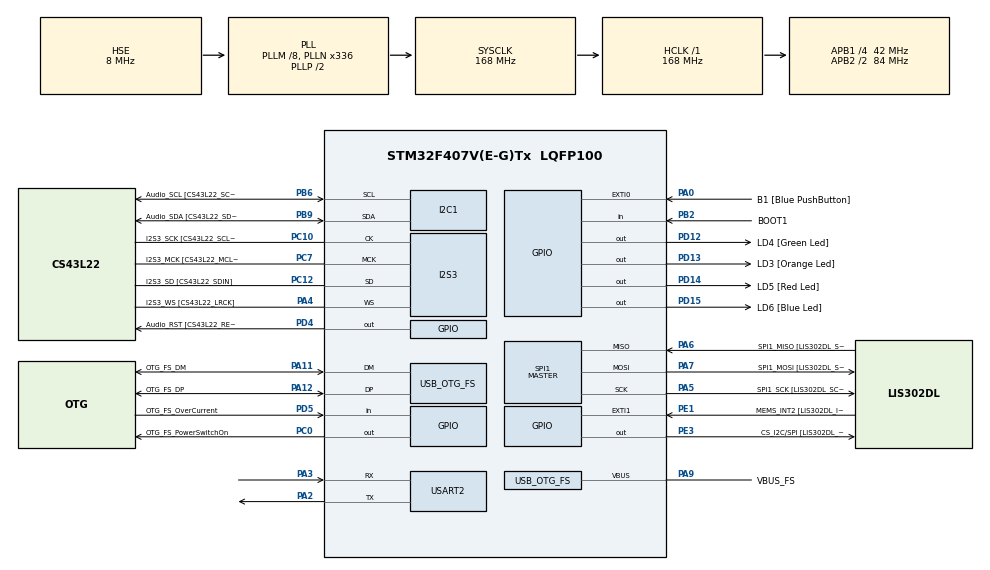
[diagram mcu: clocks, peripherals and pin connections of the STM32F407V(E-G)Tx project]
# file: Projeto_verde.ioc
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Dma.Request0=USART2_TX
Dma.USART2_TX.0.Direction=DMA_MEMORY_TO_PERIPH
Dma.USART2_TX.0.FIFOMode=DMA_FIFOMODE_DISABLE
Dma.USART2_TX.0.Instance=DMA1_Stream6
Dma.USART2_TX.0.MemDataAlignment=DMA_MDATAALIGN_BYTE
Dma.USART2_TX.0.MemInc=DMA_MINC_ENABLE
Dma.USART2_TX.0.Mode=DMA_NORMAL
Dma.USART2_TX.0.PeriphDataAlignment=DMA_PDATAALIGN_BYTE
Dma.USART2_TX.0.PeriphInc=DMA_PINC_DISABLE
Dma.USART2_TX.0.Priority=DMA_PRIORITY_LOW
I2S3.AudioFreq-Half_Duplex_Master=I2S_AUDIOFREQ_96K
I2S3.ErrorAudioFreq=-2.34 %
I2S3.ErrorAudioFreq-Half_Duplex_Master=0.8 %
I2S3.FullDuplexMode=I2S_FULLDUPLEXMODE_DISABLE
I2S3.Instance=SPI$Index
I2S3.RealAudioFreq=93.75 KHz
I2S3.RealAudioFreq-Half_Duplex_Master=96.774 KHz
I2S3.VirtualMode=I2S_MODE_MASTER
Mcu.Family=STM32F4
Mcu.Name=STM32F407V(E-G)Tx
Mcu.Package=LQFP100
NVIC.DMA1_Stream6_IRQn=true\:0\:0\:false\:false\:true\:false\:true\:true
NVIC.OTG_FS_IRQn=true\:0\:0\:false\:false\:true\:true\:true\:true
NVIC.PriorityGroup=NVIC_PRIORITYGROUP_0
NVIC.USART2_IRQn=true\:0\:0\:false\:false\:true\:true\:true\:true
PA0-WKUP.GPIO_Label=B1 [Blue PushButton]
PA0-WKUP.GPIO_ModeDefaultEXTI=GPIO_MODE_EVT_RISING
PA0-WKUP.GPIO_PuPd=GPIO_NOPULL
PA0-WKUP.Signal=GPXTI0
PA10.GPIO_Label=OTG_FS_ID
PA10.GPIO_Mode=GPIO_MODE_AF_PP
PA10.GPIO_PuPd=GPIO_NOPULL
PA10.GPIO_Speed=GPIO_SPEED_FREQ_LOW
PA10.Signal=USB_OTG_FS_ID
PA11.GPIO_Label=OTG_FS_DM
PA11.GPIO_Mode=GPIO_MODE_AF_PP
PA11.GPIO_PuPd=GPIO_NOPULL
PA11.GPIO_Speed=GPIO_SPEED_FREQ_LOW
PA11.Mode=Host_Only
PA11.Signal=USB_OTG_FS_DM
PA12.GPIO_Label=OTG_FS_DP
PA12.GPIO_Mode=GPIO_MODE_AF_PP
PA12.GPIO_PuPd=GPIO_NOPULL
PA12.GPIO_Speed=GPIO_SPEED_FREQ_LOW
PA12.Mode=Host_Only
PA12.Signal=USB_OTG_FS_DP
PA13.GPIO_Label=SWDIO
PA13.Mode=Serial_Wire
PA13.Signal=SYS_JTMS-SWDIO
PA14.GPIO_Label=SWCLK
PA14.Mode=Serial_Wire
PA14.Signal=SYS_JTCK-SWCLK
PA2.GPIO_PuPd=GPIO_PULLUP
PA2.Mode=Asynchronous
PA2.Signal=USART2_TX
PA3.GPIO_PuPd=GPIO_PULLUP
PA3.Mode=Asynchronous
PA3.Signal=USART2_RX
PA4.GPIO_Label=I2S3_WS [CS43L22_LRCK]
PA4.GPIO_Mode=GPIO_MODE_AF_PP
PA4.GPIO_PuPd=GPIO_NOPULL
PA4.GPIO_Speed=GPIO_SPEED_FREQ_LOW
PA4.Mode=Half_Duplex_Master
PA4.Signal=I2S3_WS
PA5.GPIO_Label=SPI1_SCK [LIS302DL_SCL/SPC]
PA5.GPIO_Mode=GPIO_MODE_AF_PP
PA5.GPIO_PuPd=GPIO_NOPULL
PA5.GPIO_Speed=GPIO_SPEED_FREQ_LOW
PA5.Mode=Full_Duplex_Master
PA5.Signal=SPI1_SCK
PA6.GPIO_Label=SPI1_MISO [LIS302DL_SDO]
PA6.GPIO_Mode=GPIO_MODE_AF_PP
PA6.GPIO_PuPd=GPIO_NOPULL
PA6.GPIO_Speed=GPIO_SPEED_FREQ_LOW
PA6.Mode=Full_Duplex_Master
PA6.Signal=SPI1_MISO
PA7.GPIO_Label=SPI1_MOSI [LIS302DL_SDA/SDI/SDO]
PA7.GPIO_Mode=GPIO_MODE_AF_PP
PA7.GPIO_PuPd=GPIO_NOPULL
PA7.GPIO_Speed=GPIO_SPEED_FREQ_LOW
PA7.Mode=Full_Duplex_Master
PA7.Signal=SPI1_MOSI
PA9.GPIO_Label=VBUS_FS
PA9.GPIO_Mode=GPIO_MODE_INPUT
PA9.GPIO_PuPd=GPIO_NOPULL
PA9.Mode=Activate_VBUS
PA9.Signal=USB_OTG_FS_VBUS
PB10.GPIO_Label=CLK_IN [MP45DT02_CLK]
PB10.GPIO_Mode=GPIO_MODE_AF_PP
PB10.GPIO_PuPd=GPIO_NOPULL
PB10.GPIO_Speed=GPIO_SPEED_FREQ_LOW
PB10.Signal=I2S2_CK
PB2.GPIO_Label=BOOT1
PB2.GPIO_Mode=GPIO_MODE_INPUT
PB2.GPIO_PuPd=GPIO_NOPULL
PB2.Signal=GPIO_Input
PB3.GPIO_Label=SWO
PB3.Signal=SYS_JTDO-SWO
PB6.GPIO_Label=Audio_SCL [CS43L22_SCL]
PB6.GPIO_Mode=GPIO_MODE_AF_OD
PB6.GPIO_Pu=GPIO_PULLUP
PB6.GPIO_PuPd=GPIO_NOPULL
PB6.GPIO_Speed=GPIO_SPEED_FREQ_LOW
PB6.Mode=I2C
PB6.Signal=I2C1_SCL
PB9.GPIO_Label=Audio_SDA [CS43L22_SDA]
PB9.GPIO_Mode=GPIO_MODE_AF_OD
PB9.GPIO_Pu=GPIO_PULLUP
PB9.GPIO_PuPd=GPIO_NOPULL
PB9.GPIO_Speed=GPIO_SPEED_FREQ_LOW
PB9.Mode=I2C
PB9.Signal=I2C1_SDA
PC0.GPIO_Label=OTG_FS_PowerSwitchOn
PC0.GPIO_PuPd=GPIO_NOPULL
PC0.GPIO_Speed=GPIO_SPEED_FREQ_LOW
PC0.PinState=GPIO_PIN_SET
PC0.Signal=GPIO_Output
PC10.GPIO_Label=I2S3_SCK [CS43L22_SCLK]
PC10.GPIO_Mode=GPIO_MODE_AF_PP
PC10.GPIO_PuPd=GPIO_NOPULL
PC10.GPIO_Speed=GPIO_SPEED_FREQ_LOW
PC10.Mode=Half_Duplex_Master
PC10.Signal=I2S3_CK
PC12.GPIO_Label=I2S3_SD [CS43L22_SDIN]
PC12.GPIO_Mode=GPIO_MODE_AF_PP
PC12.GPIO_PuPd=GPIO_NOPULL
PC12.GPIO_Speed=GPIO_SPEED_FREQ_LOW
PC12.Mode=Half_Duplex_Master
PC12.Signal=I2S3_SD
PC14-OSC32_IN.GPIO_Label=PC14-OSC32_IN
PC14-OSC32_IN.Mode=LSE-External-Oscillator
PC14-OSC32_IN.Signal=RCC_OSC32_IN
PC15-OSC32_OUT.GPIO_Label=PC15-OSC32_OUT
PC15-OSC32_OUT.Mode=LSE-External-Oscillator
PC15-OSC32_OUT.Signal=RCC_OSC32_OUT
PC3.GPIO_Label=PDM_OUT [MP45DT02_DOUT]
PC3.GPIO_Mode=GPIO_MODE_AF_PP
PC3.GPIO_PuPd=GPIO_NOPULL
PC3.GPIO_Speed=GPIO_SPEED_FREQ_LOW
PC3.Signal=I2S2_SD
PC7.GPIO_Label=I2S3_MCK [CS43L22_MCLK]
PC7.GPIO_Mode=GPIO_MODE_AF_PP
PC7.GPIO_PuPd=GPIO_NOPULL
PC7.GPIO_Speed=GPIO_SPEED_FREQ_LOW
PC7.Mode=Master_Clock_Activated
PC7.Signal=I2S3_MCK
PD12.GPIO_Label=LD4 [Green Led]
PD12.GPIO_PuPd=GPIO_NOPULL
PD12.GPIO_Speed=GPIO_SPEED_FREQ_LOW
PD12.Signal=GPIO_Output
PD13.GPIO_Label=LD3 [Orange Led]
PD13.GPIO_PuPd=GPIO_NOPULL
PD13.GPIO_Speed=GPIO_SPEED_FREQ_LOW
PD13.Signal=GPIO_Output
PD14.GPIO_Label=LD5 [Red Led]
PD14.GPIO_PuPd=GPIO_NOPULL
PD14.GPIO_Speed=GPIO_SPEED_FREQ_LOW
PD14.Signal=GPIO_Output
PD15.GPIO_Label=LD6 [Blue Led]
PD15.GPIO_PuPd=GPIO_NOPULL
PD15.GPIO_Speed=GPIO_SPEED_FREQ_LOW
PD15.Signal=GPIO_Output
PD4.GPIO_Label=Audio_RST [CS43L22_RESET]
PD4.GPIO_PuPd=GPIO_NOPULL
PD4.GPIO_Speed=GPIO_SPEED_FREQ_LOW
PD4.Signal=GPIO_Output
PD5.GPIO_Label=OTG_FS_OverCurrent
PD5.GPIO_Mode=GPIO_MODE_INPUT
PD5.GPIO_PuPd=GPIO_NOPULL
PD5.Signal=GPIO_Input
PE1.GPIO_Label=MEMS_INT2 [LIS302DL_INT2]
PE1.GPIO_ModeDefaultEXTI=GPIO_MODE_EVT_RISING
PE1.GPIO_PuPd=GPIO_NOPULL
PE1.Signal=GPXTI1
PE3.GPIO_Label=CS_I2C/SPI [LIS302DL_CS_I2C/SPI]
PE3.GPIO_PuPd=GPIO_NOPULL
PE3.GPIO_Speed=GPIO_SPEED_FREQ_LOW
PE3.Signal=GPIO_Output
PH0-OSC_IN.GPIO_Label=PH0-OSC_IN
PH0-OSC_IN.Mode=HSE-External-Oscillator
PH0-OSC_IN.Signal=RCC_OSC_IN
PH1-OSC_OUT.GPIO_Label=PH1-OSC_OUT
PH1-OSC_OUT.Mode=HSE-External-Oscillator
PH1-OSC_OUT.Signal=RCC_OSC_OUT
ProjectManager.HeapSize=0x200
ProjectManager.StackSize=0x400
ProjectManager.TargetToolchain=STM32CubeIDE
RCC.48MHZClocksFreq_Value=48000000
RCC.AHBFreq_Value=168000000
RCC.APB1CLKDivider=RCC_HCLK_DIV4
RCC.APB1Freq_Value=42000000
RCC.APB1TimFreq_Value=84000000
RCC.APB2CLKDivider=RCC_HCLK_DIV2
RCC.APB2Freq_Value=84000000
RCC.APB2TimFreq_Value=168000000
RCC.CortexFreq_Value=168000000
RCC.HCLKFreq_Value=168000000
RCC.HSE_VALUE=8000000
RCC.HSI_VALUE=16000000
RCC.PLLM=8
RCC.PLLN=336
RCC.PLLQ=7
RCC.SYSCLKFreq_VALUE=168000000
RCC.SYSCLKSource=RCC_SYSCLKSOURCE_PLLCLK
RCC.VCOOutputFreq_Value=336000000
SPI1.BaudRatePrescaler-Full_Duplex_Master=SPI_BAUDRATEPRESCALER_2
SPI1.CalculateBaudRate-Full_Duplex_Master=42.0 MBits/s
SPI1.Direction=SPI_DIRECTION_2LINES
SPI1.Mode=SPI_MODE_MASTER
SPI1.Mode-Full_Duplex_Master=SPI_MODE_MASTER
SPI1.VirtualType=VM_MASTER
USART2.VirtualMode=VM_ASYNC
USB_HOST.BSP.number=1
USB_HOST.USBH_HandleTypeDef-CDC_FS=hUsbHostFS
USB_HOST.VirtualModeFS=Cdc
USB_HOST0.BSP.STBoard=false
USB_HOST0.BSP.api=Unknown
USB_HOST0.BSP.instance=PC0
USB_HOST0.BSP.ip=GPIO
USB_HOST0.BSP.mode=Output
USB_HOST0.BSP.name=Drive_VBUS_FS
USB_HOST0.BSP.solution=PC0
USB_OTG_FS.VirtualMode=Host_Only
USB_OTG_FS.phy_itface=HCD_PHY_EMBEDDED
VP_USB_HOST_VS_USB_HOST_CDC_FS.Mode=CDC_FS
board=STM32F407G-DISC1

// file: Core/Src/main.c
/* USER CODE BEGIN Header */
/**
  ******************************************************************************
  * @file           : main.c
  * @brief          : Main program body
  ******************************************************************************
  * @attention
  *
  * Copyright (c) 2026 STMicroelectronics.
  * All rights reserved.
  *
  * This software is licensed under terms that can be found in the LICENSE file
  * in the root directory of this software component.
  * If no LICENSE file comes with this software, it is provided AS-IS.
  *
  ******************************************************************************
  */
/* USER CODE END Header */
#include "main.h"
#include "usb_host.h"

I2C_HandleTypeDef hi2c1;

I2S_HandleTypeDef hi2s3;

SPI_HandleTypeDef hspi1;

UART_HandleTypeDef huart2;
DMA_HandleTypeDef hdma_usart2_tx;

void SystemClock_Config(void);
static void MX_GPIO_Init(void);
static void MX_DMA_Init(void);
static void MX_I2C1_Init(void);
static void MX_I2S3_Init(void);
static void MX_SPI1_Init(void);
static void MX_USART2_UART_Init(void);
void MX_USB_HOST_Process(void);

/* USER CODE BEGIN 0 */
uint8_t contador = 0;
uint8_t rx_byte; // Vai guardar o byte recebido do Cliente
uint8_t comando_recebido = 0; // Flag para a máquina de estados
uint8_t tabela[50] = "Bruno, 01\nDaniel, 02\nPaulo, 03";
/* USER CODE END 0 */

int main(void)
{

  /* MCU Configuration--------------------------------------------------------*/

  /* Reset of all peripherals, Initializes the Flash interface and the Systick. */
  HAL_Init();

  /* Configure the system clock */
  SystemClock_Config();

  /* Initialize all configured peripherals */
  MX_GPIO_Init();
  MX_DMA_Init();
  MX_I2C1_Init();
  MX_I2S3_Init();
  MX_SPI1_Init();
  MX_USB_HOST_Init();
  MX_USART2_UART_Init();
  /* USER CODE BEGIN 2 */
  HAL_UART_Receive_IT(&huart2, &rx_byte, 1); // Fica esperando 1 byte chegar
  /* USER CODE END 2 */

  /* Infinite loop */
  while (1)
  {
    MX_USB_HOST_Process();

    /* USER CODE BEGIN 3 */

      // LÓGICA 1: Incrementar o contador com o botão (PA0)
      if (HAL_GPIO_ReadPin(GPIOA, GPIO_PIN_0) == GPIO_PIN_SET) {
          contador++;
          HAL_Delay(300); // Um pequeno atraso (debounce) para não contar milhares de vezes num só aperto
      }

      // LÓGICA 2: Tratar o comando recebido do Cliente
       if (comando_recebido == 1) {
          comando_recebido = 0; // Abaixa a bandeira

          // 1. Envia o contador por Interrupção
          HAL_UART_Transmit_IT(&huart2, &contador, 1);

          // Espera a transmissão da interrupção acabar para não "encavalar" os dados
          while (huart2.gState != HAL_UART_STATE_READY) {}

          // --- A LINHA MÁGICA ---
          HAL_Delay(20); // Dá tempo para a Placa Branca armar o seu DMA!

          // 2. Envia a tabela por DMA
          HAL_UART_Transmit_DMA(&huart2, tabela, 50);

          // 3. Zera o contador
          contador = 0;
      }
  }

  /* USER CODE END 3 */
}

void SystemClock_Config(void)
{
  RCC_OscInitTypeDef RCC_OscInitStruct = {0};
  RCC_ClkInitTypeDef RCC_ClkInitStruct = {0};

  /** Configure the main internal regulator output voltage
  */
  __HAL_RCC_PWR_CLK_ENABLE();
  __HAL_PWR_VOLTAGESCALING_CONFIG(PWR_REGULATOR_VOLTAGE_SCALE1);

  /** Initializes the RCC Oscillators according to the specified parameters
  * in the RCC_OscInitTypeDef structure.
  */
  RCC_OscInitStruct.OscillatorType = RCC_OSCILLATORTYPE_HSE;
  RCC_OscInitStruct.HSEState = RCC_HSE_ON;
  RCC_OscInitStruct.PLL.PLLState = RCC_PLL_ON;
  RCC_OscInitStruct.PLL.PLLSource = RCC_PLLSOURCE_HSE;
  RCC_OscInitStruct.PLL.PLLM = 8;
  RCC_OscInitStruct.PLL.PLLN = 336;
  RCC_OscInitStruct.PLL.PLLP = RCC_PLLP_DIV2;
  RCC_OscInitStruct.PLL.PLLQ = 7;
  if (HAL_RCC_OscConfig(&RCC_OscInitStruct) != HAL_OK)
  {
    Error_Handler();
  }

  /** Initializes the CPU, AHB and APB buses clocks
  */
  RCC_ClkInitStruct.ClockType = RCC_CLOCKTYPE_HCLK|RCC_CLOCKTYPE_SYSCLK
                              |RCC_CLOCKTYPE_PCLK1|RCC_CLOCKTYPE_PCLK2;
  RCC_ClkInitStruct.SYSCLKSource = RCC_SYSCLKSOURCE_PLLCLK;
  RCC_ClkInitStruct.AHBCLKDivider = RCC_SYSCLK_DIV1;
  RCC_ClkInitStruct.APB1CLKDivider = RCC_HCLK_DIV4;
  RCC_ClkInitStruct.APB2CLKDivider = RCC_HCLK_DIV2;

  if (HAL_RCC_ClockConfig(&RCC_ClkInitStruct, FLASH_LATENCY_5) != HAL_OK)
  {
    Error_Handler();
  }
}

static void MX_I2C1_Init(void)
{

  hi2c1.Instance = I2C1;
  hi2c1.Init.ClockSpeed = 100000;
  hi2c1.Init.DutyCycle = I2C_DUTYCYCLE_2;
  hi2c1.Init.OwnAddress1 = 0;
  hi2c1.Init.AddressingMode = I2C_ADDRESSINGMODE_7BIT;
  hi2c1.Init.DualAddressMode = I2C_DUALADDRESS_DISABLE;
  hi2c1.Init.OwnAddress2 = 0;
  hi2c1.Init.GeneralCallMode = I2C_GENERALCALL_DISABLE;
  hi2c1.Init.NoStretchMode = I2C_NOSTRETCH_DISABLE;
  if (HAL_I2C_Init(&hi2c1) != HAL_OK)
  {
    Error_Handler();
  }

}

static void MX_I2S3_Init(void)
{

  hi2s3.Instance = SPI3;
  hi2s3.Init.Mode = I2S_MODE_MASTER_TX;
  hi2s3.Init.Standard = I2S_STANDARD_PHILIPS;
  hi2s3.Init.DataFormat = I2S_DATAFORMAT_16B;
  hi2s3.Init.MCLKOutput = I2S_MCLKOUTPUT_ENABLE;
  hi2s3.Init.AudioFreq = I2S_AUDIOFREQ_96K;
  hi2s3.Init.CPOL = I2S_CPOL_LOW;
  hi2s3.Init.ClockSource = I2S_CLOCK_PLL;
  hi2s3.Init.FullDuplexMode = I2S_FULLDUPLEXMODE_DISABLE;
  if (HAL_I2S_Init(&hi2s3) != HAL_OK)
  {
    Error_Handler();
  }

}

static void MX_SPI1_Init(void)
{

  /* SPI1 parameter configuration*/
  hspi1.Instance = SPI1;
  hspi1.Init.Mode = SPI_MODE_MASTER;
  hspi1.Init.Direction = SPI_DIRECTION_2LINES;
  hspi1.Init.DataSize = SPI_DATASIZE_8BIT;
  hspi1.Init.CLKPolarity = SPI_POLARITY_LOW;
  hspi1.Init.CLKPhase = SPI_PHASE_1EDGE;
  hspi1.Init.NSS = SPI_NSS_SOFT;
  hspi1.Init.BaudRatePrescaler = SPI_BAUDRATEPRESCALER_2;
  hspi1.Init.FirstBit = SPI_FIRSTBIT_MSB;
  hspi1.Init.TIMode = SPI_TIMODE_DISABLE;
  hspi1.Init.CRCCalculation = SPI_CRCCALCULATION_DISABLE;
  hspi1.Init.CRCPolynomial = 10;
  if (HAL_SPI_Init(&hspi1) != HAL_OK)
  {
    Error_Handler();
  }

}

static void MX_USART2_UART_Init(void)
{

  huart2.Instance = USART2;
  huart2.Init.BaudRate = 115200;
  huart2.Init.WordLength = UART_WORDLENGTH_8B;
  huart2.Init.StopBits = UART_STOPBITS_1;
  huart2.Init.Parity = UART_PARITY_NONE;
  huart2.Init.Mode = UART_MODE_TX_RX;
  huart2.Init.HwFlowCtl = UART_HWCONTROL_NONE;
  huart2.Init.OverSampling = UART_OVERSAMPLING_16;
  if (HAL_UART_Init(&huart2) != HAL_OK)
  {
    Error_Handler();
  }

}

static void MX_DMA_Init(void)
{

  /* DMA controller clock enable */
  __HAL_RCC_DMA1_CLK_ENABLE();

  /* DMA interrupt init */
  /* DMA1_Stream6_IRQn interrupt configuration */
  HAL_NVIC_SetPriority(DMA1_Stream6_IRQn, 0, 0);
  HAL_NVIC_EnableIRQ(DMA1_Stream6_IRQn);

}

static void MX_GPIO_Init(void)
{
  GPIO_InitTypeDef GPIO_InitStruct = {0};

  /* GPIO Ports Clock Enable */
  __HAL_RCC_GPIOE_CLK_ENABLE();
  __HAL_RCC_GPIOC_CLK_ENABLE();
  __HAL_RCC_GPIOH_CLK_ENABLE();
  __HAL_RCC_GPIOA_CLK_ENABLE();
  __HAL_RCC_GPIOB_CLK_ENABLE();
  __HAL_RCC_GPIOD_CLK_ENABLE();

  /*Configure GPIO pin Output Level */
  HAL_GPIO_WritePin(CS_I2C_SPI_GPIO_Port, CS_I2C_SPI_Pin, GPIO_PIN_RESET);

  /*Configure GPIO pin Output Level */
  HAL_GPIO_WritePin(OTG_FS_PowerSwitchOn_GPIO_Port, OTG_FS_PowerSwitchOn_Pin, GPIO_PIN_SET);

  /*Configure GPIO pin Output Level */
  HAL_GPIO_WritePin(GPIOD, LD4_Pin|LD3_Pin|LD5_Pin|LD6_Pin
                          |Audio_RST_Pin, GPIO_PIN_RESET);

  /*Configure GPIO pin : CS_I2C_SPI_Pin */
  GPIO_InitStruct.Pin = CS_I2C_SPI_Pin;
  GPIO_InitStruct.Mode = GPIO_MODE_OUTPUT_PP;
  GPIO_InitStruct.Pull = GPIO_NOPULL;
  GPIO_InitStruct.Speed = GPIO_SPEED_FREQ_LOW;
  HAL_GPIO_Init(CS_I2C_SPI_GPIO_Port, &GPIO_InitStruct);

  /*Configure GPIO pin : OTG_FS_PowerSwitchOn_Pin */
  GPIO_InitStruct.Pin = OTG_FS_PowerSwitchOn_Pin;
  GPIO_InitStruct.Mode = GPIO_MODE_OUTPUT_PP;
  GPIO_InitStruct.Pull = GPIO_NOPULL;
  GPIO_InitStruct.Speed = GPIO_SPEED_FREQ_LOW;
  HAL_GPIO_Init(OTG_FS_PowerSwitchOn_GPIO_Port, &GPIO_InitStruct);

  /*Configure GPIO pin : PDM_OUT_Pin */
  GPIO_InitStruct.Pin = PDM_OUT_Pin;
  GPIO_InitStruct.Mode = GPIO_MODE_AF_PP;
  GPIO_InitStruct.Pull = GPIO_NOPULL;
  GPIO_InitStruct.Speed = GPIO_SPEED_FREQ_LOW;
  GPIO_InitStruct.Alternate = GPIO_AF5_SPI2;
  HAL_GPIO_Init(PDM_OUT_GPIO_Port, &GPIO_InitStruct);

  /*Configure GPIO pin : B1_Pin */
  GPIO_InitStruct.Pin = B1_Pin;
  GPIO_InitStruct.Mode = GPIO_MODE_EVT_RISING;
  GPIO_InitStruct.Pull = GPIO_NOPULL;
  HAL_GPIO_Init(B1_GPIO_Port, &GPIO_InitStruct);

  /*Configure GPIO pin : BOOT1_Pin */
  GPIO_InitStruct.Pin = BOOT1_Pin;
  GPIO_InitStruct.Mode = GPIO_MODE_INPUT;
  GPIO_InitStruct.Pull = GPIO_NOPULL;
  HAL_GPIO_Init(BOOT1_GPIO_Port, &GPIO_InitStruct);

  /*Configure GPIO pin : CLK_IN_Pin */
  GPIO_InitStruct.Pin = CLK_IN_Pin;
  GPIO_InitStruct.Mode = GPIO_MODE_AF_PP;
  GPIO_InitStruct.Pull = GPIO_NOPULL;
  GPIO_InitStruct.Speed = GPIO_SPEED_FREQ_LOW;
  GPIO_InitStruct.Alternate = GPIO_AF5_SPI2;
  HAL_GPIO_Init(CLK_IN_GPIO_Port, &GPIO_InitStruct);

  /*Configure GPIO pins : LD4_Pin LD3_Pin LD5_Pin LD6_Pin
                           Audio_RST_Pin */
  GPIO_InitStruct.Pin = LD4_Pin|LD3_Pin|LD5_Pin|LD6_Pin
                          |Audio_RST_Pin;
  GPIO_InitStruct.Mode = GPIO_MODE_OUTPUT_PP;
  GPIO_InitStruct.Pull = GPIO_NOPULL;
  GPIO_InitStruct.Speed = GPIO_SPEED_FREQ_LOW;
  HAL_GPIO_Init(GPIOD, &GPIO_InitStruct);

  /*Configure GPIO pin : OTG_FS_OverCurrent_Pin */
  GPIO_InitStruct.Pin = OTG_FS_OverCurrent_Pin;
  GPIO_InitStruct.Mode = GPIO_MODE_INPUT;
  GPIO_InitStruct.Pull = GPIO_NOPULL;
  HAL_GPIO_Init(OTG_FS_OverCurrent_GPIO_Port, &GPIO_InitStruct);

  /*Configure GPIO pin : MEMS_INT2_Pin */
  GPIO_InitStruct.Pin = MEMS_INT2_Pin;
  GPIO_InitStruct.Mode = GPIO_MODE_EVT_RISING;
  GPIO_InitStruct.Pull = GPIO_NOPULL;
  HAL_GPIO_Init(MEMS_INT2_GPIO_Port, &GPIO_InitStruct);

}

/* USER CODE BEGIN 4 */
void HAL_UART_RxCpltCallback(UART_HandleTypeDef *huart) {
    if (huart->Instance == USART2) {
        // Se a mensagem que chegou for 0x5A, levanta a bandeira!
        if (rx_byte == 0x5A) {
            comando_recebido = 1;
        }
        // Prepara a armadilha para ouvir o próximo comando
        HAL_UART_Receive_IT(&huart2, &rx_byte, 1);
    }
}
/* USER CODE END 4 */

void Error_Handler(void)
{
  __disable_irq();
  while (1)
  {
  }
}
